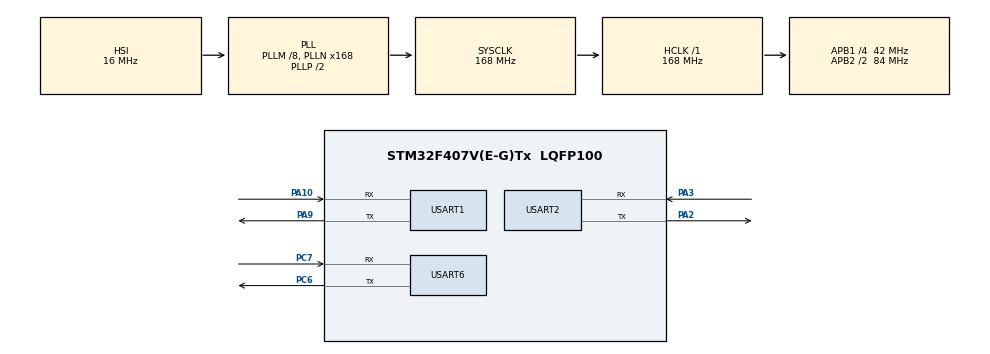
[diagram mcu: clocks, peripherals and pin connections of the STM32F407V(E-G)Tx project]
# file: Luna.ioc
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Mcu.Family=STM32F4
Mcu.Name=STM32F407V(E-G)Tx
Mcu.Package=LQFP100
NVIC.PriorityGroup=NVIC_PRIORITYGROUP_2
NVIC.USART1_IRQn=true\:1\:0\:true\:false\:true\:true\:true
PA10.Mode=Asynchronous
PA10.Signal=USART1_RX
PA2.Mode=Asynchronous
PA2.Signal=USART2_TX
PA3.Mode=Asynchronous
PA3.Signal=USART2_RX
PA9.Mode=Asynchronous
PA9.Signal=USART1_TX
PC6.Mode=Asynchronous
PC6.Signal=USART6_TX
PC7.Mode=Asynchronous
PC7.Signal=USART6_RX
PH0-OSC_IN.Mode=HSE-External-Oscillator
PH0-OSC_IN.Signal=RCC_OSC_IN
PH1-OSC_OUT.Mode=HSE-External-Oscillator
PH1-OSC_OUT.Signal=RCC_OSC_OUT
ProjectManager.HeapSize=0x200
ProjectManager.StackSize=0x400
ProjectManager.TargetToolchain=MDK-ARM V5.27
RCC.48MHZClocksFreq_Value=84000000
RCC.AHBFreq_Value=168000000
RCC.APB1CLKDivider=RCC_HCLK_DIV4
RCC.APB1Freq_Value=42000000
RCC.APB1TimFreq_Value=84000000
RCC.APB2CLKDivider=RCC_HCLK_DIV2
RCC.APB2Freq_Value=84000000
RCC.APB2TimFreq_Value=168000000
RCC.CortexFreq_Value=168000000
RCC.HCLKFreq_Value=168000000
RCC.HSE_VALUE=25000000
RCC.HSI_VALUE=16000000
RCC.LSE_VALUE=32768
RCC.PLLM=8
RCC.PLLN=168
RCC.SYSCLKFreq_VALUE=168000000
RCC.SYSCLKSource=RCC_SYSCLKSOURCE_PLLCLK
RCC.VCOOutputFreq_Value=336000000
USART1.VirtualMode=VM_ASYNC
USART2.VirtualMode=VM_ASYNC
USART6.VirtualMode=VM_ASYNC
board=custom

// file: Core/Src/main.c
/* USER CODE BEGIN Header */
/**
  ******************************************************************************
  * @file           : main.c
  * @brief          : Main program body
  ******************************************************************************
  * @attention
  *
  * <h2><center>&copy; Copyright (c) 2021 STMicroelectronics.
  * All rights reserved.</center></h2>
  *
  * This software component is licensed by ST under BSD 3-Clause license,
  * the "License"; You may not use this file except in compliance with the
  * License. You may obtain a copy of the License at:
  *                        opensource.org/licenses/BSD-3-Clause
  *
  ******************************************************************************
  */
/* USER CODE END Header */
#include "main.h"
#include "usart.h"
#include "gpio.h"

void SystemClock_Config(void);

/* USER CODE BEGIN 0 */
uint8_t UART1_RxBuffer;
uint8_t buffer1[10] = "\0";
uint16_t dist;
uint8_t end[3]= {0xff,0xff,0xff};
/**
  * @brief  串口发送函数
  * @retval None
  */
#include "stdio.h"
#include "stdarg.h"
#include "string.h"

#define    TXBUF_SIZE_MAX    100

void uartx_printf(UART_HandleTypeDef huartx, const char *format, ...)
{
    va_list args;
    uint32_t length;
    uint8_t txbuf[TXBUF_SIZE_MAX] = {0};

    va_start(args, format);
    length = vsnprintf((char *)txbuf, sizeof(txbuf), (char *)format, args);
    va_end(args);
    HAL_UART_Transmit(&huartx, (uint8_t *)txbuf, length, HAL_MAX_DELAY);
    memset(txbuf, 0, TXBUF_SIZE_MAX);
};
/* USER CODE END 0 */

int main(void)
{

  /* MCU Configuration--------------------------------------------------------*/

  /* Reset of all peripherals, Initializes the Flash interface and the Systick. */
  HAL_Init();

  /* Configure the system clock */
  SystemClock_Config();

  /* Initialize all configured peripherals */
  MX_GPIO_Init();
  MX_USART1_UART_Init();
  MX_USART2_UART_Init();
  MX_USART6_UART_Init();
  /* USER CODE BEGIN 2 */
  HAL_UART_Receive_IT(&huart1, (uint8_t*)&UART1_RxBuffer, 1); //开启串口中断
  /* USER CODE END 2 */

  /* Infinite loop */
  /* USER CODE BEGIN WHILE */
  while (1)
  {
    //DBG("距离为%d\r\n", dist);
    uartx_printf(huart2, "t2.txt=\"%d\"", dist);
    HAL_UART_Transmit(&huart2,end,3,0xffff);
    /* USER CODE END WHILE */

  }
}

void SystemClock_Config(void)
{
  RCC_OscInitTypeDef RCC_OscInitStruct = {0};
  RCC_ClkInitTypeDef RCC_ClkInitStruct = {0};

  /** Configure the main internal regulator output voltage
  */
  __HAL_RCC_PWR_CLK_ENABLE();
  __HAL_PWR_VOLTAGESCALING_CONFIG(PWR_REGULATOR_VOLTAGE_SCALE1);
  /** Initializes the RCC Oscillators according to the specified parameters
  * in the RCC_OscInitTypeDef structure.
  */
  RCC_OscInitStruct.OscillatorType = RCC_OSCILLATORTYPE_HSI;
  RCC_OscInitStruct.HSIState = RCC_HSI_ON;
  RCC_OscInitStruct.HSICalibrationValue = RCC_HSICALIBRATION_DEFAULT;
  RCC_OscInitStruct.PLL.PLLState = RCC_PLL_ON;
  RCC_OscInitStruct.PLL.PLLSource = RCC_PLLSOURCE_HSI;
  RCC_OscInitStruct.PLL.PLLM = 8;
  RCC_OscInitStruct.PLL.PLLN = 168;
  RCC_OscInitStruct.PLL.PLLP = RCC_PLLP_DIV2;
  RCC_OscInitStruct.PLL.PLLQ = 4;
  if (HAL_RCC_OscConfig(&RCC_OscInitStruct) != HAL_OK)
  {
    Error_Handler();
  }
  /** Initializes the CPU, AHB and APB buses clocks
  */
  RCC_ClkInitStruct.ClockType = RCC_CLOCKTYPE_HCLK|RCC_CLOCKTYPE_SYSCLK
                              |RCC_CLOCKTYPE_PCLK1|RCC_CLOCKTYPE_PCLK2;
  RCC_ClkInitStruct.SYSCLKSource = RCC_SYSCLKSOURCE_PLLCLK;
  RCC_ClkInitStruct.AHBCLKDivider = RCC_SYSCLK_DIV1;
  RCC_ClkInitStruct.APB1CLKDivider = RCC_HCLK_DIV4;
  RCC_ClkInitStruct.APB2CLKDivider = RCC_HCLK_DIV2;

  if (HAL_RCC_ClockConfig(&RCC_ClkInitStruct, FLASH_LATENCY_5) != HAL_OK)
  {
    Error_Handler();
  }
}

/* USER CODE BEGIN 4 */
void HAL_UART_RxCpltCallback(UART_HandleTypeDef *huart)
{
  //DBG("hello!\r\n");
  static uint8_t count = 0;
  if(huart->Instance == huart1.Instance)
  {
    if(count == 0 && UART1_RxBuffer == 0x59)
    {
       count++;
       buffer1[0] = UART1_RxBuffer;
    }
    else if(count == 1 && UART1_RxBuffer == 0x59)
    {
       count++;
       buffer1[1] = UART1_RxBuffer;
    }
    else if(count == 2)
    {
       count++;
       buffer1[2] = UART1_RxBuffer;
    }
    else if(count == 3)
    {
       count++;
       buffer1[3] = UART1_RxBuffer;
    }
    else if(count == 4)
    {
       count++;
       buffer1[4] = UART1_RxBuffer;
    }
    else if(count == 5)
    {
       count++;
       buffer1[5] = UART1_RxBuffer;
    }
    else if(count == 6)
    {
       count++;
       buffer1[6] = UART1_RxBuffer;
    }
    else if(count == 7)
    {
       count++;
       buffer1[7] = UART1_RxBuffer;
    }
    else if(count == 8)
    {
       count++;
       buffer1[8] = UART1_RxBuffer;
       dist = buffer1[3]<<8 | buffer1[2];
    }
    else
       count = 0;
    HAL_UART_Receive_IT(&huart1, (uint8_t*)&UART1_RxBuffer, 1);
  }
}
/* USER CODE END 4 */

void Error_Handler(void)
{
}

/************************ (C) COPYRIGHT STMicroelectronics *****END OF FILE****/
